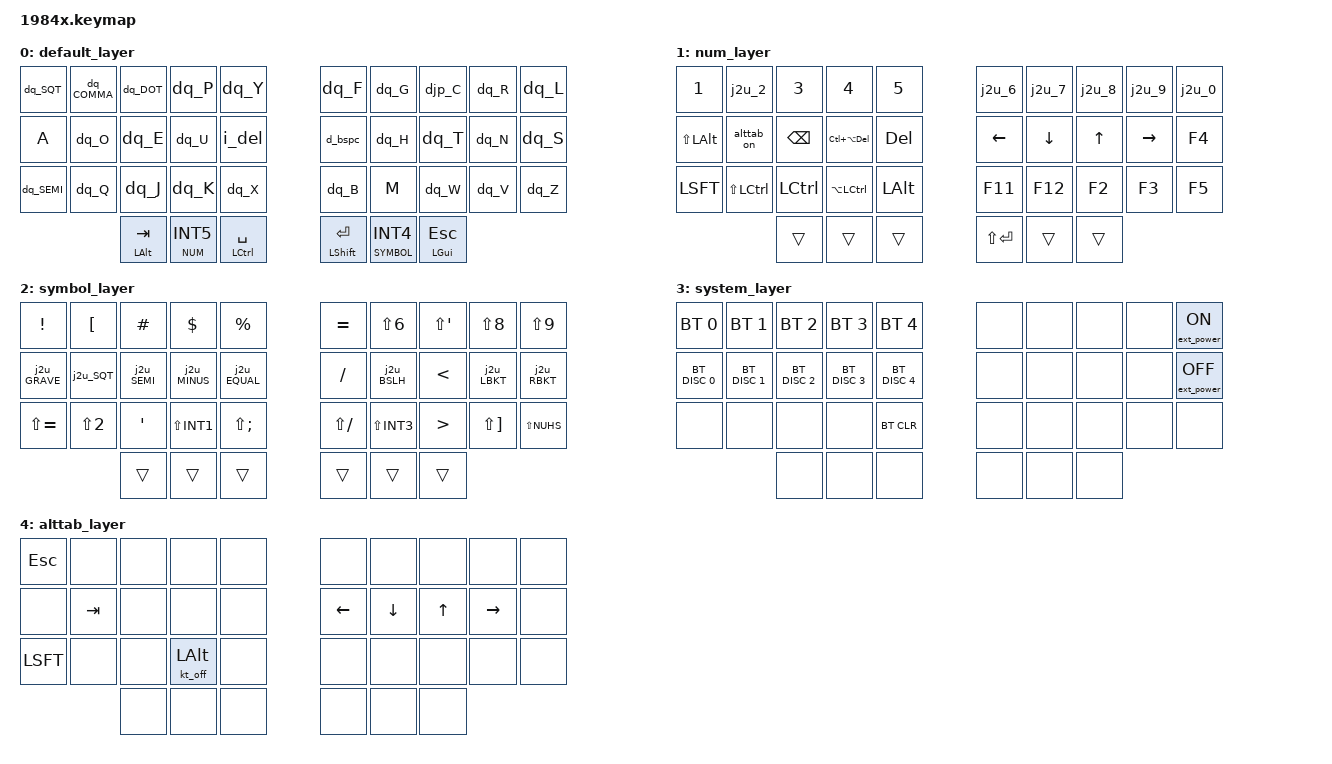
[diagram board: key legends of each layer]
/*
 * Copyright (c) 2020 The ZMK Contributors
 *
 * SPDX-License-Identifier: MIT
 */

#include <behaviors.dtsi>
#include <dt-bindings/zmk/keys.h>
#include <dt-bindings/zmk/bt.h>
#include <dt-bindings/zmk/ext_power.h>

#define DEFAULT 0
#define NUM     1
#define SYMBOL  2
#define SYSTEM  3
#define ALTTAB  4

&mt {
  quick-tap-ms = <200>;
};

// 共通定義
#define CAT_I1(A, B) A ## B
#define CAT1(A, B) CAT1_I(A, B)
#define CAT_I2(A, B) A\ B // スペース区切りで連結
#define CAT2(A, B) CAT2_I(A, B)
#define KP(KEY) CAT2(&kp, KEY)

// JIS配列からUS配列
// 2(@) : shiftが他のキー（他 6 等）
#define J2U_NN(NAME, NOSFTKEY, SFTKEY) \
  j2u_##NAME: jis_to_us_##NAME { \
    compatible = "zmk,behavior-mod-morph"; \
    \#binding-cells = <0>; \
    bindings = <&kp NOSFTKEY>, <&kp SFTKEY>; \
    mods = <(MOD_LSFT|MOD_RSFT)>; \
  };

// 7(&) : shiftが他のキーのshift（他 8 等）
#define J2U_NS(NAME, NOSFTKEY, SFTKEY) \
  j2u_##NAME: jis_to_us_##NAME { \
    compatible = "zmk,behavior-mod-morph"; \
    \#binding-cells = <0>; \
    bindings = <&kp NOSFTKEY>, <&kp SFTKEY>; \
    mods = <(MOD_LSFT|MOD_RSFT)>; \
    keep-mods = <(MOD_LSFT|MOD_RSFT)>; \
  };

// =(+) : 他のキーのshift、shiftも他のキーのshift（他 ` 等）
#define J2U_SS(NAME, NOSFTKEY, SFTKEY) \
  j2u_##NAME: jis_to_us_##NAME { \
    compatible = "zmk,behavior-mod-morph"; \
    \#binding-cells = <0>; \
    bindings = <&kp LS(NOSFTKEY)>, <&kp SFTKEY>; \
    mods = <(MOD_LSFT|MOD_RSFT)>; \
    keep-mods = <(MOD_LSFT|MOD_RSFT)>; \
  };

// dvorak - qwerty
#define DQ(DVORAK_KEY, QWERTY_KEY) \
  dq_##DVORAK_KEY: dvorak_qwerty_##DVORAK_KEY { \
    compatible = "zmk,behavior-mod-morph"; \
    \#binding-cells = <0>; \
    bindings = <&kp DVORAK_KEY>, <&kp QWERTY_KEY>; \
    mods = <(MOD_LGUI|MOD_RGUI|MOD_LCTL|MOD_RCTL|MOD_LALT|MOD_RALT)>; \
    keep-mods = <(MOD_LGUI|MOD_RGUI|MOD_LCTL|MOD_RCTL|MOD_LALT|MOD_RALT)>; \
  };

// DVORAK_JP
// 二重母音簡略化のための定義
#define DVORAKJP_NIJUBOIN(LABEL, KP) \
  m_djp_##LABELAI: macro_dvorakjp_##LABELAI { \
    compatible = "zmk,behavior-macro"; \
    \#binding-cells = <0>; \
    bindings = <##KP &kp A &kp I> \
  }; \
  m_djp_##LABELOU: macro_dvorakjp_##LABELOU { \
    compatible = "zmk,behavior-macro"; \
    \#binding-cells = <0>; \
    bindings = <##KP &kp O &kp U> \
  }; \
  m_djp_##LABELEI: macro_dvorakjp_##LABELEI { \
    compatible = "zmk,behavior-macro"; \
    \#binding-cells = <0>; \
    bindings = <##KP &kp E &kp I> \
  }; \
  m_djp_##LABELUU: macro_dvorakjp_##LABELUU { \
    compatible = "zmk,behavior-macro"; \
    \#binding-cells = <0>; \
    bindings = <##KP &kp U &kp U> \
  }; \
  m_djp_##LABELUI: macro_dvorakjp_##LABELUI { \
    compatible = "zmk,behavior-macro"; \
    \#binding-cells = <0>; \
    bindings = <##KP &kp U &kp I> \
  };

#define DVORAKJP_MACRO(CONSONANT) \
  m_djp_##CONSONANTY: macro_dvorakjp_##CONSONANTY { \
    compatible = "zmk,behavior-macro-one-param"; \
    \#binding-cells = <1>; \
    bindings \
      = <&kp CONSONANT &kp Y> \
      , <&macro_param_1to1> \
      , <&kp MACRO_PLACEHOLDER> \
      ; \
  }; \
  m_djp_##CONSONANT##CONSONANTY: macro_dvorakjp_##CONSONANT##CONSONANTY { \
    compatible = "zmk,behavior-macro-one-param"; \
    \#binding-cells = <1>; \
    bindings \
      = <&kp CONSONANT &kp CONSONANT &kp Y> \
      , <&macro_param_1to1> \
      , <&kp MACRO_PLACEHOLDER> \
      ; \
  }; \
  m_djp_##CONSONANTXN: macro_dvorakjp_##CONSONANTXN { \
    compatible = "zmk,behavior-macro-one-param"; \
    \#binding-cells = <1>; \
    bindings \
      = <&kp CONSONANT> \
      , <&macro_param_1to1> \
      , <&kp MACRO_PLACEHOLDER> \
      , <&kp N &kp N> \
      ; \
  }; \
  m_djp_##CONSONANTW: macro_dvorakjp_##CONSONANTW { \
    compatible = "zmk,behavior-macro-one-param"; \
    \#binding-cells = <1>; \
    bindings \
      = <&kp CONSONANT &kp W> \
      , <&macro_param_1to1> \
      , <&kp MACRO_PLACEHOLDER> \
      ; \
  }; \
  m_djp_##CONSONANT##CONSONANTW: macro_dvorakjp_##CONSONANT##CONSONANTW { \
    compatible = "zmk,behavior-macro-one-param"; \
    \#binding-cells = <1>; \
    bindings \
      = <&kp CONSONANT &kp CONSONANT &kp W> \
      , <&macro_param_1to1> \
      , <&kp MACRO_PLACEHOLDER> \
      ; \
  }; \
  m_djp_##CONSONANT##CONSONANTXN: macro_dvorakjp_##CONSONANT##CONSONANTXN { \
    compatible = "zmk,behavior-macro-one-param"; \
    \#binding-cells = <1>; \
    bindings \
      = <&kp CONSONANT &kp CONSONANT> \
      , <&macro_param_1to1> \
      , <&kp MACRO_PLACEHOLDER> \
      , <&kp N &kp N> \
      ; \
  };

#define DVORAKJP(KEY, CONSONANT, YKEY) \
  djp_##KEY: dvorakjp_##KEY { \
    compatible = "zmk,behavior-leader-key"; \
    \#binding-cells = <0>; \
    ya { sequence = <##YKEY A>; bindings = <&m_djp_##CONSONANTY A>; }; \
    yi { sequence = <##YKEY I>; bindings = <&m_djp_##CONSONANTY I>; }; \
    yu { sequence = <##YKEY U>; bindings = <&m_djp_##CONSONANTY U>; }; \
    ye { sequence = <##YKEY E>; bindings = <&m_djp_##CONSONANTY E>; }; \
    yo { sequence = <##YKEY O>; bindings = <&m_djp_##CONSONANTY O>; }; \
    wa { sequence = <W A>; bindings = <&m_djp_##CONSONANTW A>; }; \
    wi { sequence = <W I>; bindings = <&m_djp_##CONSONANTW I>; }; \
    wu { sequence = <W U>; bindings = <&m_djp_##CONSONANTW U>; }; \
    we { sequence = <W E>; bindings = <&m_djp_##CONSONANTW E>; }; \
    wo { sequence = <W O>; bindings = <&m_djp_##CONSONANTW O>; }; \
    xtuya { sequence = <##KEY YKEY A>; bindings = <&m_djp_##CONSONANT##CONSONANTY A>; }; \
    xtuyi { sequence = <##KEY YKEY I>; bindings = <&m_djp_##CONSONANT##CONSONANTY I>; }; \
    xtuyu { sequence = <##KEY YKEY U>; bindings = <&m_djp_##CONSONANT##CONSONANTY U>; }; \
    xtuye { sequence = <##KEY YKEY E>; bindings = <&m_djp_##CONSONANT##CONSONANTY E>; }; \
    xtuyo { sequence = <##KEY YKEY O>; bindings = <&m_djp_##CONSONANT##CONSONANTY O>; }; \
    xtuwa { sequence = <##KEY W A>; bindings = <&m_djp_##CONSONANT##CONSONANTW A>; }; \
    xtuwi { sequence = <##KEY W I>; bindings = <&m_djp_##CONSONANT##CONSONANTW I>; }; \
    xtuwu { sequence = <##KEY W U>; bindings = <&m_djp_##CONSONANT##CONSONANTW U>; }; \
    xtuwe { sequence = <##KEY W E>; bindings = <&m_djp_##CONSONANT##CONSONANTW E>; }; \
    xtuwo { sequence = <##KEY W O>; bindings = <&m_djp_##CONSONANT##CONSONANTW O>; }; \
    an { sequence = <SEMI>; bindings = <&m_djp_##CONSONANTXN A>; }; \
    in { sequence = <X>; bindings = <&m_djp_##CONSONANTXN I>; }; \
    un { sequence = <K>; bindings = <&m_djp_##CONSONANTXN U>; }; \
    en { sequence = <J>; bindings = <&m_djp_##CONSONANTXN E>; }; \
    on { sequence = <Q>; bindings = <&m_djp_##CONSONANTXN O>; }; \
    xtuan { sequence = <##KEY W SEMI>; bindings = <&m_djp_##CONSONANT##CONSONANTXN A>; }; \
    xtuin { sequence = <##KEY W X>; bindings = <&m_djp_##CONSONANT##CONSONANTXN I>; }; \
    xtuun { sequence = <##KEY W K>; bindings = <&m_djp_##CONSONANT##CONSONANTXN U>; }; \
    xtuen { sequence = <##KEY W J>; bindings = <&m_djp_##CONSONANT##CONSONANTXN E>; }; \
    xtuon { sequence = <##KEY W Q>; bindings = <&m_djp_##CONSONANT##CONSONANTXN O>; }; \
  };

/ {
    conditional_layers {
    compatible = "zmk,conditional-layers";
    tri_layer {
      if-layers = <NUM SYMBOL>;
      then-layer = <SYSTEM>;
    };
  };

  macros {
    // alttab
    alttab_on: alttab_on {
      compatible = "zmk,behavior-macro";
      #binding-cells = <0>;
      bindings
        = <&macro_press &kp LALT>
        , <&macro_tap &kp TAB>
        , <&macro_press &mo ALTTAB>
        ;
    };

    lha: layer_has_alttab {
      compatible = "zmk,behavior-macro-one-param";
      #binding-cells = <1>;
      bindings
        = <&macro_param_1to1>
        , <&macro_press &mo MACRO_PLACEHOLDER>
        , <&macro_pause_for_release>
        , <&macro_tap &none>
        , <&macro_release &kp LALT>
        , <&macro_tap &to DEFAULT>
        ;
    };
    DVORAKJP_MACRO(K)
  };

  behaviors {
    J2U_NN(2, N2, LBKT)
    J2U_NN(6, N6, EQUAL)
    J2U_NS(7, N7, N6)
    J2U_NS(8, N8, SQT)
    J2U_NS(9, N9, N8)
    J2U_NS(0, N0, N9)
    J2U_NS(MINUS, MINUS, INT1)
    J2U_SS(EQUAL, MINUS, SEMI)
    J2U_NS(LBKT, RBKT, RBKT)
    J2U_NS(RBKT, NUHS, NUHS)
    J2U_NS(BSLH, INT1, INT3)
    J2U_NN(SEMI, SEMI, SQT)
    J2U_SS(SQT, N7, N2)
    J2U_SS(GRAVE, LBKT, EQUAL)

    dq_SQT: dvorak_qwerty_SQT {
      compatible = "zmk,behavior-mod-morph";
      #binding-cells = <0>;
      bindings = <&j2u_SQT>, <&kp Q>;
      mods = <(MOD_LGUI|MOD_RGUI|MOD_LCTL|MOD_RCTL|MOD_LALT|MOD_RALT)>;
      keep-mods = <(MOD_LGUI|MOD_RGUI|MOD_LCTL|MOD_RCTL|MOD_LALT|MOD_RALT)>;
    };
    DQ(COMMA, W)
    DQ(DOT, E)
    DQ(P, R)
    DQ(Y, T)
    DQ(F, Y)
    DQ(G, U)
    DQ(C, I)
    DQ(R, O)
    DQ(L, P)
    // DQ(A, A)
    DQ(O, S)
    DQ(E, D)
    DQ(U, F)
    DQ(I, G)
    DQ(D, H)
    DQ(H, J)
    DQ(T, K)
    DQ(N, L)
    dq_S: dvorak_qwerty_S {
      compatible = "zmk,behavior-mod-morph";
      #binding-cells = <0>;
      bindings = <&kp S>, <&j2u_SEMI>;
      mods = <(MOD_LGUI|MOD_RGUI|MOD_LCTL|MOD_RCTL|MOD_LALT|MOD_RALT)>;
      keep-mods = <(MOD_LGUI|MOD_RGUI|MOD_LCTL|MOD_RCTL|MOD_LALT|MOD_RALT)>;
    };
    dq_SEMI: dvorak_qwerty_SEMI {
      compatible = "zmk,behavior-mod-morph";
      #binding-cells = <0>;
      bindings = <&j2u_SEMI>, <&kp Z>;
      mods = <(MOD_LGUI|MOD_RGUI|MOD_LCTL|MOD_RCTL|MOD_LALT|MOD_RALT)>;
      keep-mods = <(MOD_LGUI|MOD_RGUI|MOD_LCTL|MOD_RCTL|MOD_LALT|MOD_RALT)>;
    };
    DQ(Q, X)
    DQ(J, C)
    DQ(K, V)
    DQ(X, B)
    DQ(B, N)
    // DQ(M, M)
    DQ(W, COMMA)
    DQ(V, DOT)
    DQ(Z, SLASH)

    i_del: ctrl_i_2_del {
      compatible = "zmk,behavior-mod-morph";
      #binding-cells = <0>;
      bindings = <&dq_I>, <&kp DEL>;
      mods = <(MOD_LCTL|MOD_RCTL)>;
    };

    d_bspc: ctrl_d_2_bspc {
      compatible = "zmk,behavior-mod-morph";
      #binding-cells = <0>;
      bindings = <&dq_D>, <&kp BSPC>;
      mods = <(MOD_LCTL|MOD_RCTL)>;
    };

    kt_off: key_toggle_off_only {
      compatible = "zmk,behavior-key-toggle";
      #binding-cells = <1>;
      toggle-mode = "off";
    };

    lt_at: lt_alttab {
      compatible = "zmk,behavior-hold-tap";
      #binding-cells = <2>;
      flavor = "tap-preferred";
      tapping-term-ms = <200>;
      bindings = <&lha>, <&kp>;
    };
  
    DVORAKJP(C, K, N)
  };

  keymap {
    compatible = "zmk,keymap";

    default_layer {
      bindings = <
   &dq_SQT          &dq_COMMA        &dq_DOT          &dq_P            &dq_Y                    &dq_F            &dq_G            &djp_C            &dq_R           &dq_L
   &kp A            &dq_O            &dq_E            &dq_U            &i_del                   &d_bspc          &dq_H            &dq_T            &dq_N           &dq_S
   &dq_SEMI         &dq_Q            &dq_J            &dq_K            &dq_X                    &dq_B            &kp M            &dq_W            &dq_V           &dq_Z
                                     &mt LALT TAB     &lt_at NUM INT5  &mt LCTRL SPACE          &mt LSHFT ENTER  &lt SYMBOL INT4  &mt LGUI ESC
      >;
    };

    num_layer {
      bindings = <
   &kp N1           &j2u_2           &kp N3           &kp N4           &kp N5                   &j2u_6           &j2u_7           &j2u_8           &j2u_9           &j2u_0
   &kp LS(LALT)     &alttab_on       &kp BSPC         &kp LC(LA(DEL))  &kp DEL                  &kp LEFT         &kp DOWN         &kp UP           &kp RIGHT        &kp F4
   &kp LSFT         &kp LS(LCTL)     &kp LCTL         &kp LA(LCTL)     &kp LALT                 &kp F11          &kp F12          &kp F2           &kp F3           &kp F5
                                     &trans           &trans           &trans                   &kp LS(ENTER)    &trans           &trans
      >;
    };

    symbol_layer {
      bindings = <
   &kp EXCL         &kp LBKT         &kp HASH         &kp DLLR         &kp PRCNT                &kp EQUAL        &kp LS(N6)       &kp LS(SQT)      &kp LS(N8)       &kp LS(N9)
   &j2u_GRAVE       &j2u_SQT         &j2u_SEMI        &j2u_MINUS       &j2u_EQUAL               &kp SLASH        &j2u_BSLH        &kp LT           &j2u_LBKT        &j2u_RBKT
   &kp LS(EQUAL)    &kp LS(N2)       &kp SQT          &kp LS(INT1)     &kp LS(SEMI)             &kp LS(SLASH)    &kp LS(INT3)     &kp GT           &kp LS(RBKT)     &kp LS(NUHS)
                                     &trans           &trans           &trans                   &trans           &trans           &trans
      >;
    };

    system_layer {
      bindings = <
   &bt BT_SEL 0     &bt BT_SEL 1     &bt BT_SEL 2     &bt BT_SEL 3     &bt BT_SEL 4             &none            &none            &none            &none            &ext_power EP_ON
   &bt BT_DISC 0    &bt BT_DISC 1    &bt BT_DISC 2    &bt BT_DISC 3    &bt BT_DISC 4            &none            &none            &none            &none            &ext_power EP_OFF
   &none            &none            &none            &none            &bt BT_CLR               &none            &none            &none            &none            &none
                                     &none            &none            &none                    &none            &none            &none
      >;
    };

    alttab_layer {
      bindings = <
   &kp ESC          &none            &none            &none            &none                    &none            &none            &none            &none            &none
   &none            &kp TAB          &none            &none            &none                    &kp LEFT         &kp DOWN         &kp UP           &kp RIGHT        &none
   &kp LSFT         &none            &none            &kt_off LALT     &none                    &none            &none            &none            &none            &none
                                     &none            &none            &none                    &none            &none            &none
      >;
    };

  };
};
